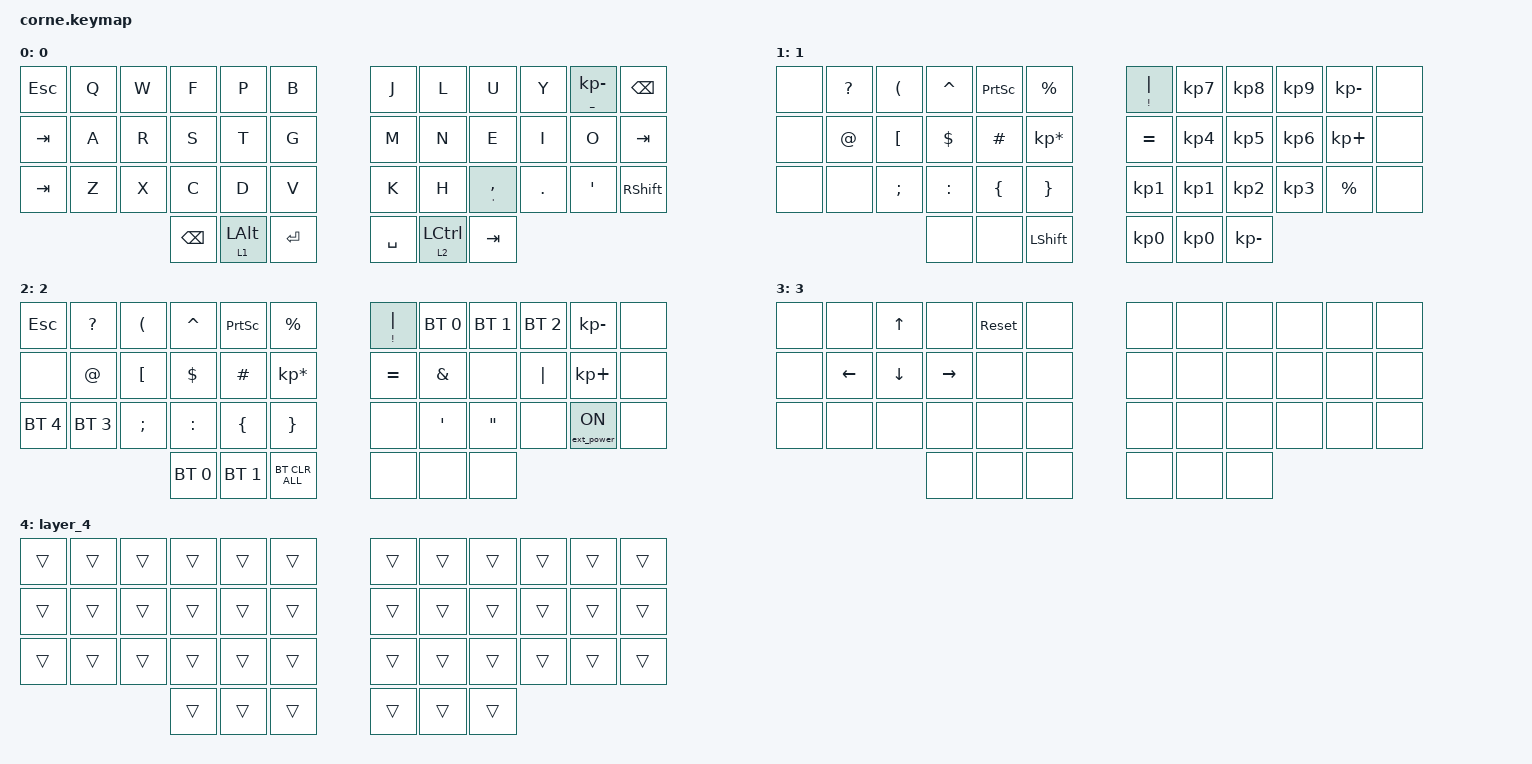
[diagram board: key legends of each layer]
/*
 * Copyright (c) 2020 The ZMK Contributors
 *
 * SPDX-License-Identifier: MIT
 */

#define EXT_POWER_OFF_CMD 0
#define EXT_POWER_ON_CMD 1
#define EXT_POWER_TOGGLE_CMD 2
#define EP_ON EXT_POWER_ON_CMD
#define EP_OFF EXT_POWER_OFF_CMD
#define EP_TOG EXT_POWER_TOGGLE_CMD

#include <behaviors.dtsi>
#include <dt-bindings/zmk/bt.h>
#include <dt-bindings/zmk/ext_power.h>
#include <dt-bindings/zmk/keys.h>

#define DEFAULT_L 0
#define SYMBOLS_L 1
#define ARROWS_L  2
#define NUMBERS_L 3

/ {
    behaviors {
        hm: homerow_mods {
            compatible = "zmk,behavior-hold-tap";
            label = "HOMEROW_MODS";
            #binding-cells = <2>;
            tapping-term-ms = <300>;
            quick-tap-ms = <200>;
            flavor = "tap-preferred";
            bindings = <&kp>, <&kp>;
        };
    };

    combos {
        compatible = "zmk,combos";

        a {
            bindings = <&kp ESCAPE>;
            key-positions = <2 1>;
        };

        b {
            bindings = <&kp CLCK>;
            key-positions = <14 13>;
        };

        c {
            bindings = <&kp TAB>;
            key-positions = <26 25>;
        };

        e {
            bindings = <&kp ENTER>;
            key-positions = <22 21>;
        };

        f {
            bindings = <&kp MINUS>;
            key-positions = <19 20>;
        };

        g {
            bindings = <&kp EQUAL>;
            key-positions = <7 8>;
        };

        h {
            bindings = <&sys_reset>;
            key-positions = <1 29>;
        };

        j {
            bindings = <&sys_reset>;
            key-positions = <30 9>;
        };

        greater {
            bindings = <&kp GREATER_THAN>;
            key-positions = <15 28>;
            layers = <0>;
        };

        lessthan {
            bindings = <&kp LESS_THAN>;
            key-positions = <31 20>;
            layers = <0>;
        };

        under {
            bindings = <&kp UNDER>;
            key-positions = <31 32>;
            layers = <0>;
        };

        minus {
            bindings = <&kp KP_MINUS>;
            key-positions = <19 20>;
            layers = <0>;
        };

        backslash {
            bindings = <&kp BACKSLASH>;
            key-positions = <3 16>;
        };

        slash {
            bindings = <&kp SLASH>;
            key-positions = <8 19>;
        };

        pipe {
            bindings = <&kp PIPE>;
            key-positions = <7 19>;
        };
    };

    keymap {
        compatible = "zmk,keymap";

        default_layer {
            label = "0";
            bindings = <
&kp ESC  &kp Q  &kp W  &kp F          &kp P           &kp B        &kp J      &kp L        &kp U                 &kp Y    &mt UNDERSCORE KP_MINUS  &kp BSPC
&kp TAB  &kp A  &kp R  &kp S          &kp T           &kp G        &kp M      &kp N        &kp E                 &kp I    &kp O                    &kp TAB
&kp TAB  &kp Z  &kp X  &kp C          &kp D           &kp V        &kp K      &kp H        &mt APOSTROPHE COMMA  &kp DOT  &kp APOSTROPHE           &kp RSHFT
                       &kp BACKSPACE  &lt 1 LEFT_ALT  &kp ENTER    &kp SPACE  &lt 2 LCTRL  &kp TAB
            >;
        };

        number_layer {
            label = "1";
            bindings = <
&none  &kp QUESTION  &kp LEFT_PARENTHESIS  &kp CARET   &kp PRINTSCREEN  &kp PERCENT        &mt EXCLAMATION PIPE  &kp KP_NUMBER_7  &kp KP_NUMBER_8  &kp KP_NUMBER_9  &kp KP_MINUS  &none
&none  &kp AT_SIGN   &kp LEFT_BRACKET      &kp DOLLAR  &kp POUND        &kp KP_ASTERISK    &kp EQUAL             &kp KP_NUMBER_4  &kp KP_NUMBER_5  &kp KP_NUMBER_6  &kp KP_PLUS   &none
&none  &none         &kp SEMICOLON         &kp COLON   &kp LEFT_BRACE   &kp RIGHT_BRACE    &kp KP_NUMBER_1       &kp KP_NUMBER_1  &kp KP_NUMBER_2  &kp KP_NUMBER_3  &kp PERCENT   &none
                                           &none       &none            &kp LEFT_SHIFT     &kp KP_NUMBER_0       &kp KP_NUMBER_0  &kp KP_MINUS
            >;
        };

        bt_layer {
            label = "2";
            bindings = <
&kp ESC       &kp QUESTION  &kp LEFT_PARENTHESIS  &kp CARET     &kp PRINTSCREEN  &kp PERCENT        &mt EXCLAMATION PIPE  &bt BT_SEL 0    &bt BT_SEL 1       &bt BT_SEL 2  &kp KP_MINUS      &none
&none         &kp AT_SIGN   &kp LEFT_BRACKET      &kp DOLLAR    &kp POUND        &kp KP_ASTERISK    &kp EQUAL             &kp AMPERSAND   &none              &kp PIPE      &kp KP_PLUS       &none
&bt BT_SEL 4  &bt BT_SEL 3  &kp SEMICOLON         &kp COLON     &kp LEFT_BRACE   &kp RIGHT_BRACE    &none                 &kp APOSTROPHE  &kp DOUBLE_QUOTES  &none         &ext_power EP_ON  &none
                                                  &bt BT_SEL 0  &bt BT_SEL 1     &bt BT_CLR_ALL     &none                 &none           &none
            >;
        };

        arrow_layer {
            label = "3";
            bindings = <
&none  &none           &kp UP_ARROW    &none      &sys_reset  &none    &none  &none  &none  &none  &none  &none
&none  &kp LEFT_ARROW  &kp DOWN_ARROW  &kp RIGHT  &none       &none    &none  &none  &none  &none  &none  &none
&none  &none           &none           &none      &none       &none    &none  &none  &none  &none  &none  &none
                                       &none      &none       &none    &none  &none  &none
            >;
        };

        layer_4 {
            bindings = <
&trans  &trans  &trans  &trans  &trans  &trans    &trans  &trans  &trans  &trans  &trans  &trans
&trans  &trans  &trans  &trans  &trans  &trans    &trans  &trans  &trans  &trans  &trans  &trans
&trans  &trans  &trans  &trans  &trans  &trans    &trans  &trans  &trans  &trans  &trans  &trans
                        &trans  &trans  &trans    &trans  &trans  &trans
            >;
        };
    };
};
